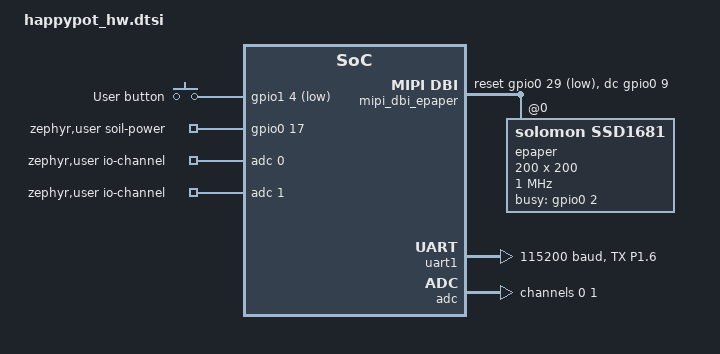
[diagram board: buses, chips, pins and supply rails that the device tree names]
/*
 * HappyPot's hardware, shared by both builds: the BTHome firmware (apps/bthome/app.overlay) and
 * the Matter build (apps/matter/boards/promicro_nrf52840_nrf52840.overlay). One description, so
 * the two cannot drift apart.
 *
 *   Soil probe -> capacitive v2.0, AOUT=P0.31 (AIN7), VCC gated by P0.17 (powered only while
 *                 sampling: ~5 mA otherwise continuous, and permanent bias corrodes the probe)
 *   Battery    -> SAADC internal VDDH/5 path (no external divider)
 *   Button     -> P1.04 (active-low, internal pull-up)
 *   E-Paper    -> WeAct Studio 1.54" 200x200 (SSD1681)
 *                 SPI2: SCK=P1.11, MOSI=P1.13, CS=P0.10
 *                 DC=P0.09, RST=P0.29, BUSY=P0.02 (active-high), 3V3 rail enable=P0.13
 *   Console    -> uart1, TX-only on P1.06 (uart0 is disabled: its default pins P0.09/P0.10
 *                 are the display's DC/CS)
 */

#include <zephyr/dt-bindings/adc/adc.h>
#include <zephyr/dt-bindings/adc/nrf-saadc.h>
#include <zephyr/dt-bindings/gpio/gpio.h>
#include <zephyr/dt-bindings/input/input-event-codes.h>
#include <zephyr/dt-bindings/regulator/nrf5x.h>

/* Where things live in flash -- and, above all, where the bootloader lives so nothing lands on it. */
#include "happypot_flash.dtsi"

/* Disable uart0 so P0.09/P0.10 are free for the display. */
&uart0 {
	status = "disabled";
};

&pinctrl {
	uart1_default_alt: uart1_default_alt {
		group1 {
			/* TX-only on P1.06; RX disconnected so P1.04 is free for the button. */
			psels = <NRF_PSEL(UART_TX, 1, 6)>,
				<NRF_PSEL_DISCONNECTED(UART_RX)>;
		};
	};

	uart1_sleep_alt: uart1_sleep_alt {
		group1 {
			psels = <NRF_PSEL(UART_TX, 1, 6)>,
				<NRF_PSEL_DISCONNECTED(UART_RX)>;
			low-power-enable;
		};
	};
};

&uart1 {
	current-speed = <115200>;
	pinctrl-0 = <&uart1_default_alt>;
	pinctrl-1 = <&uart1_sleep_alt>;
	pinctrl-names = "default", "sleep";
	status = "okay";
};

/* Remap SPI2 to the e-paper wiring: SCK=P1.11, MOSI=P1.13 (write-only, no MISO). */
&spi2_default {
	group1 {
		psels = <NRF_PSEL(SPIM_SCK, 1, 11)>,
			<NRF_PSEL(SPIM_MOSI, 1, 13)>;
	};
};

&spi2_sleep {
	group1 {
		psels = <NRF_PSEL(SPIM_SCK, 1, 11)>,
			<NRF_PSEL(SPIM_MOSI, 1, 13)>;
		low-power-enable;
	};
};

&spi2 {
	cs-gpios = <&gpio0 10 GPIO_ACTIVE_LOW>;
};

/*
 * Enable the REG1 DC/DC buck (default is LDO). ~2x more efficient than the LDO at the mA-level
 * active currents (refresh, BLE TX). Requires the on-module DCC inductor to be populated --
 * standard on ProMicro/nice!nano clones; if a board browns out on boot, remove this override.
 */
&reg1 {
	regulator-initial-mode = <NRF5X_REG_MODE_DCDC>;
};

/ {
	chosen {
		zephyr,display = &epaper;
		zephyr,console = &uart1;
	};

	keys: buttons {
		compatible = "gpio-keys";

		button0: button_0 {
			/* P1.04, pressed = LOW, enable internal pull-up */
			gpios = <&gpio1 4 (GPIO_ACTIVE_LOW | GPIO_PULL_UP)>;
			label = "User button";
			zephyr,code = <INPUT_KEY_0>;
		};
	};

	/*
	 * Turn the one button's raw press/release into a tap/hold pair. The driver emits
	 * ENTER on a short press (on release) and MENU the moment the hold threshold passes
	 * (while still held) -- so button.cpp only has to map two codes, not time the press.
	 */
	longpress: longpress {
		compatible = "zephyr,input-longpress";
		input = <&keys>;
		input-codes = <INPUT_KEY_0>;
		short-codes = <INPUT_KEY_ENTER>;
		long-codes = <INPUT_KEY_MENU>;
		long-delay-ms = <700>;
	};

	/* Nothing we build reads sw0 -- button.cpp goes through the input subsystem. It is here
	 * because it is the conventional name for "the button", and because NCS's DK library (which
	 * the Matter build deliberately does not enable) looks for it. */
	aliases {
		sw0 = &button0;
	};

	mipi_dbi_epaper {
		compatible = "zephyr,mipi-dbi-spi";
		spi-dev = <&spi2>;
		dc-gpios = <&gpio0 9 GPIO_ACTIVE_HIGH>;
		reset-gpios = <&gpio0 29 GPIO_ACTIVE_LOW>;
		#address-cells = <1>;
		#size-cells = <0>;

		epaper: ssd1681@0 {
			compatible = "solomon,ssd1681";
			mipi-max-frequency = <1000000>;
			reg = <0>;
			width = <200>;
			height = <200>;
			rotation = <270>;
			busy-gpios = <&gpio0 2 GPIO_ACTIVE_HIGH>;
			tssv = <0x80>;

			/*
			 * Empty profiles -> the driver uses the waveform defaults from the panel's OTP
			 * (like GxEPD2_154_D67). That keeps the VBD border (register 0x3C) on its default
			 * instead of black.
			 *
			 * The partial node stays: the rail is always on, the controller keeps its old
			 * frame -> partial refresh (fast, no black flash) is possible.
			 */
			full {
			};

			partial {
			};
		};
	};

	zephyr,user {
		io-channels = <&adc 0>, <&adc 1>;
		/* Soil sensor VCC is fed directly from P0.17 so it is only powered while
		 * sampling (~5 mA otherwise continuous). */
		soil-power-gpios = <&gpio0 17 GPIO_ACTIVE_HIGH>;
	};
};

&adc {
	status = "okay";
	#address-cells = <1>;
	#size-cells = <0>;

	channel@0 {
		reg = <0>;
		zephyr,gain = "ADC_GAIN_1_5";
		zephyr,reference = "ADC_REF_INTERNAL";
		zephyr,acquisition-time = <ADC_ACQ_TIME(ADC_ACQ_TIME_MICROSECONDS, 10)>;
		zephyr,input-positive = <NRF_SAADC_AIN7>;
		zephyr,resolution = <12>;
	};

	channel@1 {
		reg = <1>;
		zephyr,gain = "ADC_GAIN_1_6";
		zephyr,reference = "ADC_REF_INTERNAL";
		zephyr,acquisition-time = <ADC_ACQ_TIME(ADC_ACQ_TIME_MICROSECONDS, 10)>;
		/* Measure the raw battery rail through SAADC's internal VDDH/5 path. */
		zephyr,input-positive = <NRF_SAADC_VDDHDIV5>;
		zephyr,resolution = <12>;
	};
};
